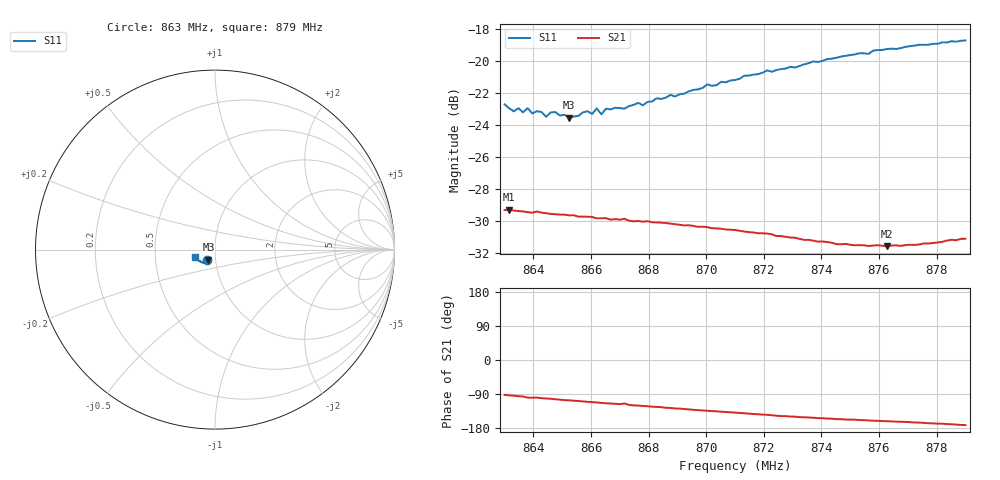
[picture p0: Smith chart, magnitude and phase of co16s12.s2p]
# HZ S RI R 50
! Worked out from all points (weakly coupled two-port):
!   101 points, 863 MHz to 879 MHz, reference 50 ohm
!   highest |S21| = -29.30 dB at 863.16 MHz (marker M1); lowest = -31.6 dB at 876.28 MHz (marker M2)
!   lowest |S11| = -23.5 dB at 865.24 MHz (marker M3), VSWR 1.14, Z = 46.2 - j5.14 ohm
!   |S11| at or under -10 dB: start of sweep to end of sweep
!   S12 and S22 are empty: the file has one direction only
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8.63e8  -0.0461 -0.0568  -0.00111 -0.0342  0 0  0 0
8.6316e8  -0.0445 -0.0555  -0.00197 -0.0342  0 0  0 0
8.6348e8  -0.0443 -0.0557  -0.00327 -0.0338  0 0  0 0
8.6364e8  -0.0395 -0.0567  -0.00379 -0.0336  0 0  0 0
8.638e8  -0.0436 -0.0564  -0.00541 -0.0332  0 0  0 0
8.6396e8  -0.041 -0.055  -0.0056 -0.0331  0 0  0 0
8.6428e8  -0.0403 -0.0564  -0.00628 -0.033  0 0  0 0
8.6444e8  -0.0386 -0.0547  -0.00674 -0.0327  0 0  0 0
8.6476e8  -0.0403 -0.0564  -0.00779 -0.0323  0 0  0 0
8.6524e8  -0.0368 -0.0554  -0.00928 -0.0316  0 0  0 0
8.6572e8  -0.04 -0.0564  -0.0108 -0.0308  0 0  0 0
8.6604e8  -0.0359 -0.0581  -0.0118 -0.0303  0 0  0 0
8.662e8  -0.0377 -0.0603  -0.012 -0.0299  0 0  0 0
8.6636e8  -0.0365 -0.0575  -0.0128 -0.0296  0 0  0 0
8.6652e8  -0.0362 -0.061  -0.0132 -0.0294  0 0  0 0
8.6716e8  -0.0331 -0.0628  -0.0134 -0.0292  0 0  0 0
8.6844e8  -0.038 -0.0659  -0.0176 -0.0258  0 0  0 0
8.71e8  -0.0485 -0.0726  -0.0223 -0.0195  0 0  0 0
8.7372e8  -0.0686 -0.0725  -0.0243 -0.0127  0 0  0 0
8.7628e8  -0.0905 -0.061  -0.025 -0.00836  0 0  0 0
8.7644e8  -0.0913 -0.0602  -0.0252 -0.00815  0 0  0 0
8.79e8  -0.1093 -0.0391  -0.0275 -0.00396  0 0  0 0
